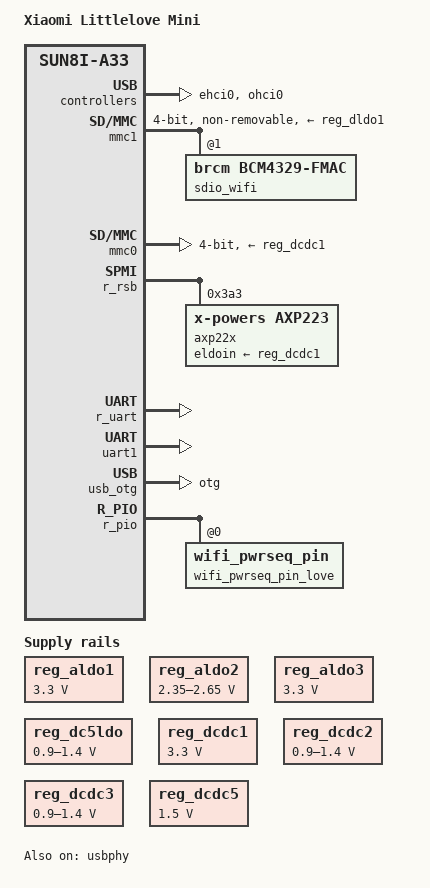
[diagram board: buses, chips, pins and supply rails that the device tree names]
/*
 * Copyright (C) 2020 HandsomeYingyan <handsomeyingyan@gmail.com>
 * This device tree is for u-boot only.
 * This file is dual-licensed: you can use it either under the terms
 * of the GPL or the X11 license, at your option. Note that this dual
 * licensing only applies to this file, and not this project as a
 * whole.
 *
 *  a) This file is free software; you can redistribute it and/or
 *     modify it under the terms of the GNU General Public License as
 *     published by the Free Software Foundation; either version 2 of the
 *     License, or (at your option) any later version.
 *
 *     This file is distributed in the hope that it will be useful,
 *     but WITHOUT ANY WARRANTY; without even the implied warranty of
 *     MERCHANTABILITY or FITNESS FOR A PARTICULAR PURPOSE.  See the
 *     GNU General Public License for more details.
 *
 * Or, alternatively,
 *
 *  b) Permission is hereby granted, free of charge, to any person
 *     obtaining a copy of this software and associated documentation
 *     files (the "Software"), to deal in the Software without
 *     restriction, including without limitation the rights to use,
 *     copy, modify, merge, publish, distribute, sublicense, and/or
 *     sell copies of the Software, and to permit persons to whom the
 *     Software is furnished to do so, subject to the following
 *     conditions:
 *
 *     The above copyright notice and this permission notice shall be
 *     included in all copies or substantial portions of the Software.
 *
 *     THE SOFTWARE IS PROVIDED "AS IS", WITHOUT WARRANTY OF ANY KIND,
 *     EXPRESS OR IMPLIED, INCLUDING BUT NOT LIMITED TO THE WARRANTIES
 *     OF MERCHANTABILITY, FITNESS FOR A PARTICULAR PURPOSE AND
 *     NONINFRINGEMENT. IN NO EVENT SHALL THE AUTHORS OR COPYRIGHT
 *     HOLDERS BE LIABLE FOR ANY CLAIM, DAMAGES OR OTHER LIABILITY,
 *     WHETHER IN AN ACTION OF CONTRACT, TORT OR OTHERWISE, ARISING
 *     FROM, OUT OF OR IN CONNECTION WITH THE SOFTWARE OR THE USE OR
 *     OTHER DEALINGS IN THE SOFTWARE.
 */
 
/dts-v1/;
#include "sun8i-a33.dtsi"

#include <dt-bindings/gpio/gpio.h>
#include <dt-bindings/input/input.h>

/ {
	model = "Xiaomi Littlelove Mini";
	compatible = "xiaomi,littlelove-mini","allwinner,sun8i-a33";

	aliases {
		serial0 = &r_uart;
		serial1 = &uart1;
		ethernet0 = &sdio_wifi;
	};

	chosen {
		stdout-path = "serial0:115200n8";
	};
	
	wifi_pwrseq: wifi_pwrseq {
		compatible = "mmc-pwrseq-simple";
		pinctrl-names = "default";
		pinctrl-0 = <&wifi_pwrseq_pin_love>;
	};
};

&ehci0 {
	status = "okay";
};

&mmc1 {
	pinctrl-names = "default";
	pinctrl-0 = <&mmc1_pins_a>;
	vmmc-supply = <&reg_dldo1>;
	mmc-pwrseq = <&wifi_pwrseq>;
	bus-width = <4>;
	non-removable;
	status = "okay";

	sdio_wifi: sdio_wifi@1 {
		compatible = "brcm,bcm4329-fmac";
		reg = <1>;
	};
	
};

&mmc1_pins_a {
	bias-pull-up;
};


&mmc0 {
	pinctrl-names = "default";
	pinctrl-0 = <&mmc0_pins_a>;
	vmmc-supply = <&reg_dcdc1>;
	bus-width = <4>;
	broken-cd;
	status = "okay";
};

&mmc0_pins_a {
	bias-pull-up;
};


&ohci0 {
	status = "okay";
};

&r_rsb {
	status = "okay";

	axp22x: pmic@3a3 {
		compatible = "x-powers,axp223";
		reg = <0x3a3>;
		interrupt-parent = <&nmi_intc>;
		interrupts = <0 IRQ_TYPE_LEVEL_LOW>;
		eldoin-supply = <&reg_dcdc1>;
		x-powers,drive-vbus-en;
	};
};


#include "axp223.dtsi"

&ac_power_supply {
	status = "okay";
};


&reg_aldo1 {
	regulator-always-on;
	regulator-min-microvolt = <3300000>;
	regulator-max-microvolt = <3300000>;
	regulator-name = "vcc-io";
};

&reg_aldo2 {
	regulator-always-on;
	regulator-min-microvolt = <2350000>;
	regulator-max-microvolt = <2650000>;
	regulator-name = "vdd-dll";
};

&reg_aldo3 {
	regulator-always-on;
	regulator-min-microvolt = <3300000>;
	regulator-max-microvolt = <3300000>;
	regulator-name = "vcc-avcc";
};



&reg_dc5ldo {
	regulator-always-on;
	regulator-min-microvolt = <900000>;
	regulator-max-microvolt = <1400000>;
	regulator-name = "vdd-cpus";
};

&reg_dcdc1 {
	regulator-always-on;
	regulator-min-microvolt = <3300000>;
	regulator-max-microvolt = <3300000>;
	regulator-name = "vcc-3v3";
};

&reg_dcdc2 {
	regulator-always-on;
	regulator-min-microvolt = <900000>;
	regulator-max-microvolt = <1400000>;
	regulator-name = "vdd-sys";
};

&reg_dcdc3 {
	regulator-always-on;
	regulator-min-microvolt = <900000>;
	regulator-max-microvolt = <1400000>;
	regulator-name = "vdd-cpu";
};

&reg_dcdc5 {
	regulator-always-on;
	regulator-min-microvolt = <1500000>;
	regulator-max-microvolt = <1500000>;
	regulator-name = "vcc-dram";
};

&reg_drivevbus {
	regulator-name = "usb0-vbus";
	status = "okay";
};

&reg_rtc_ldo {
	regulator-name = "vcc-rtc";
};

&r_uart {
	pinctrl-names = "default";
	pinctrl-0 = <&r_uart_pins_a>;
	status = "okay";
};

&uart1 {
	pinctrl-names = "default";
	pinctrl-0 = <&uart1_pins_a>;
	status = "okay";
};

&usb_otg {
	dr_mode = "otg";
	status = "okay";
};

&usb_power_supply {
	status = "okay";
};

&r_pio {
	wifi_pwrseq_pin_love: wifi_pwrseq_pin@0 {
		pins = "PL6", "PL7", "PL11";
		function = "gpio_in";
		bias-pull-up;
	};
};

&usbphy {
	usb0_id_det-gpios = <&pio 1 3 GPIO_ACTIVE_HIGH>; /* PB3 */
	usb0_vbus_power-supply = <&usb_power_supply>;
	usb0_vbus-supply = <&reg_drivevbus>;
	status = "okay";
};



